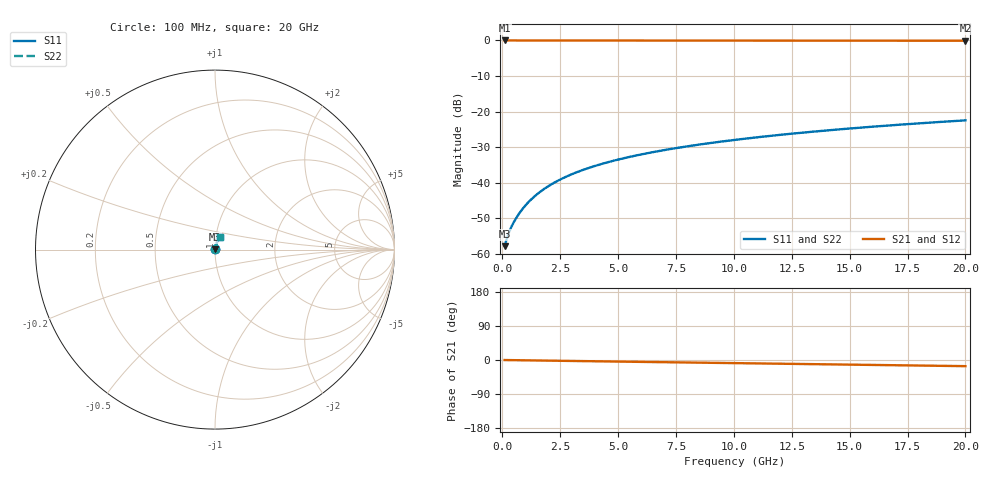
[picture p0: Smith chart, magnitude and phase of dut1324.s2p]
! Touchstone file exported from HFSS 2026.1.0
!  File:  C:/ffzhzh/LocalFiles/Ansys_Project_Files/temp_train_BSMRDL_1324_1783178581_22436.aedt
!  Generated:  11:24:10 PM Jul  4, 2026
!  Design:  BSMRDL
!  Project:  temp_train_BSMRDL_1324_1783178581_22436
! Variables:
!  h_bsmrdl = 4.85um
!  h_ox = 20um
!  h_rdl = 5um
!  h_sub = 80um
!  h_tmrdl = 5um
!  h_tsv = 80um
!  h_via = 3um
!  l_bsmrdl = 266.95um
!  l_sub = 666.95um
!  l_tmrdl = 200um
!  m_sub = 200um
!  pitch = 29.46um
!  r_tsv = 6um
!  s_tmrdl = 10um
!  w_bsmrdl = 20.25um
!  w_sub = 500um
!  w_tmrdl = 12um
!  x_tsv_center1 = 206um
!  x_tsv_center2 = 493.2um
!  x_tsv_center3 = 705.2um
!  x_tsv_center4 = 992.4um
!  x_tsv_center5 = 1204.4um
!  x_tsv_center6 = 1491.6um
# GHz S MA R 50.000000
! Terminal data exported
! Port[1] = BSM_RDL1_1_T1
! Port[2] = BSM_RDL1_1_T2
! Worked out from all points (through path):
!   200 points, 100 MHz to 20 GHz, reference 50 ohm
!   highest |S21| = -0.01 dB at 100 MHz (marker M1); lowest = -0.1 dB at 20 GHz (marker M2)
!   group delay of S21, straight-line fit = 2.25 ps
!   lowest |S11| = -57.8 dB at 100 MHz (marker M3), VSWR 1.00, Z = 50.1 + j0.0589 ohm
!   |S11| at or under -10 dB: start of sweep to end of sweep
!   |S22| runs from -57.8 to -22.5 dB; largest |S21 - S12| = 3e-15
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0.1  0.001285 27.2  0.9989 -0.1  0.9989 -0.1  0.001285 27.2
! Gamma 0 0 0 0
! Port Impedance 50 0 50 0
0.2  0.001664 41.1  0.9987 -0.2  0.9987 -0.2  0.001664 41.1
0.3  0.002049 48.8  0.9987 -0.3  0.9987 -0.3  0.002049 48.8
0.4  0.002425 54.2  0.9986 -0.4  0.9986 -0.4  0.002425 54.2
0.5  0.002803 58.3  0.9985 -0.4  0.9985 -0.4  0.002803 58.3
0.6  0.003189 61.6  0.9985 -0.5  0.9985 -0.5  0.003189 61.6
0.8  0.003982 66.5  0.9984 -0.7  0.9984 -0.7  0.003982 66.5
1  0.0048 69.7  0.9984 -0.9  0.9984 -0.9  0.0048 69.7
1.2  0.005632 72.0  0.9983 -1.0  0.9983 -1.0  0.005632 72.0
1.4  0.006472 73.6  0.9983 -1.2  0.9983 -1.2  0.006472 73.6
1.7  0.007739 75.2  0.9982 -1.4  0.9982 -1.4  0.007739 75.2
2.2  0.009847 76.6  0.998 -1.9  0.998 -1.9  0.009847 76.6
2.8  0.01235 77.4  0.9977 -2.4  0.9977 -2.4  0.01235 77.4
3.5  0.01522 77.6  0.9974 -2.9  0.9974 -2.9  0.01522 77.6
4.2  0.01802 77.6  0.997 -3.5  0.997 -3.5  0.01802 77.6
5  0.02116 77.3  0.9966 -4.2  0.9966 -4.2  0.02116 77.3
6.8  0.02804 76.5  0.9958 -5.6  0.9958 -5.6  0.02804 76.5
8.3  0.03363 75.8  0.9951 -6.9  0.9951 -6.9  0.03363 75.8
10.1  0.04024 74.8  0.9944 -8.3  0.9944 -8.3  0.04024 74.8
13.4  0.05215 72.9  0.993 -11.0  0.993 -11.0  0.05216 72.9
16.7  0.06384 70.8  0.9917 -13.6  0.9917 -13.6  0.06384 70.7
20  0.07529 68.5  0.9902 -16.2  0.9902 -16.2  0.07529 68.5
